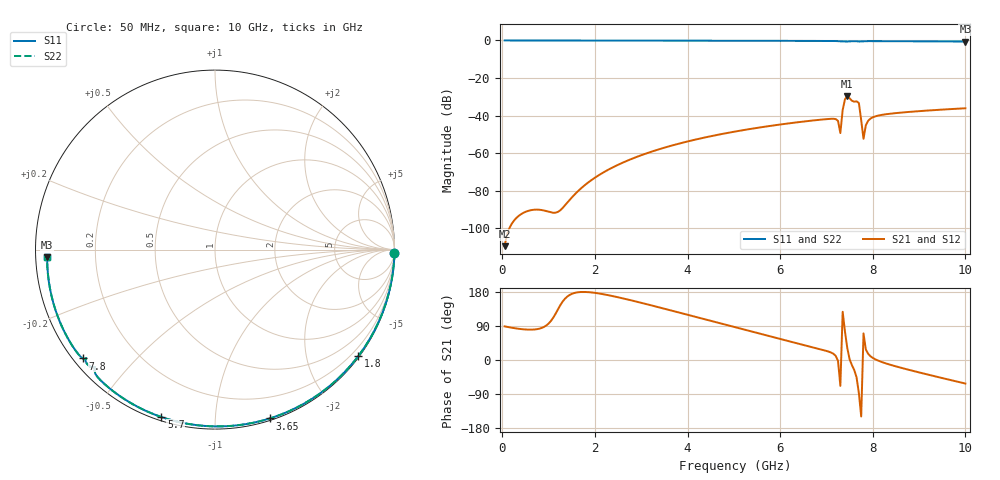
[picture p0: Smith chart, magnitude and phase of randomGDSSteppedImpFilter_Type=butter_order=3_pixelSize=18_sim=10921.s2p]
! freq	dB(S11)	phase(S11)	dB(S12)	phase(S12)
!  dB(S21)	phase(S21)	dB(S22)	phase(S22)
!S-par simulation data
#  GHz  S  DB  R 50
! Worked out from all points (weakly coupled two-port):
!   200 points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, 50 MHz to 10 GHz, reference 50 ohm
!   highest |S21| = -29.51 dB at 7.45 GHz (marker M1); lowest = -109.6 dB at 50 MHz (marker M2)
!   lowest |S11| = -0.6 dB at 10 GHz (marker M3), VSWR 30.27, Z = 1.65 - j1.15 ohm
!   |S11| at or under -10 dB: nowhere
!   |S22| runs from -0.6 to 0.0 dB; largest |S21 - S12| = 0
!   S11 on the Smith chart (normalised r, x): 50 MHz: open; 1.8 GHz: 0.03, -3.01; 3.65 GHz: 0.02, -1.38; 5.7 GHz: 0.02, -0.73; 7.8 GHz: 0.03, -0.36; 10 GHz: 0.03, -0.02
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0.05  -0.00 -1.0  -109.58 88.8  -109.58 88.8  -0.00 -1.0
1.6  -0.04 -32.7  -81.10 178.1  -81.10 178.1  -0.04 -32.7
1.75  -0.05 -35.7  -77.72 179.6  -77.72 179.6  -0.05 -35.7
1.8  -0.05 -36.7  -76.70 179.5  -76.70 179.5  -0.05 -36.7
2.5  -0.06 -50.4  -66.23 165.6  -66.23 165.6  -0.06 -50.4
3.4  -0.09 -67.4  -57.85 138.5  -57.85 138.5  -0.09 -67.5
3.65  -0.10 -72.0  -56.05 130.6  -56.05 130.6  -0.10 -72.0
5.05  -0.15 -96.8  -48.42 85.7  -48.42 85.7  -0.15 -96.8
5.7  -0.18 -107.8  -45.82 65.0  -45.82 65.0  -0.18 -107.8
6.7  -0.24 -124.3  -42.65 33.6  -42.65 33.6  -0.24 -124.3
7.2  -0.31 -133.0  -41.88 10.8  -41.88 10.8  -0.31 -133.0
7.25  -0.35 -134.0  -42.87 -2.6  -42.87 -2.6  -0.35 -134.0
7.3  -0.44 -134.9  -49.36 -68.3  -49.36 -68.3  -0.45 -135.0
7.35  -0.51 -135.1  -37.02 127.2  -37.02 127.2  -0.52 -135.1
7.4  -0.54 -135.8  -31.31 74.7  -31.31 74.7  -0.54 -135.7
7.45  -0.57 -135.7  -29.51 31.3  -29.51 31.3  -0.57 -135.7
7.7  -0.56 -139.9  -33.33 -87.7  -33.33 -87.7  -0.55 -139.9
7.8  -0.41 -140.6  -52.41 70.1  -52.41 70.1  -0.41 -140.6
7.85  -0.38 -141.5  -45.17 27.9  -45.17 27.9  -0.38 -141.6
7.9  -0.37 -142.5  -42.79 16.3  -42.79 16.3  -0.37 -142.5
8.35  -0.39 -150.1  -39.10 -11.5  -39.10 -11.5  -0.39 -150.1
10  -0.57 -177.4  -36.13 -62.2  -36.13 -62.2  -0.57 -177.4
